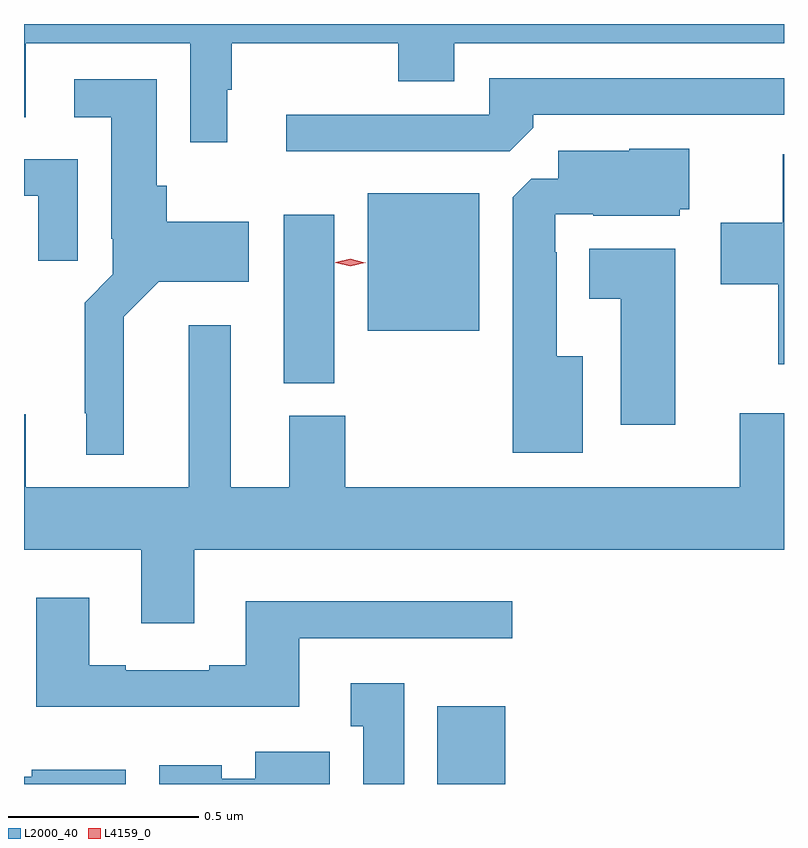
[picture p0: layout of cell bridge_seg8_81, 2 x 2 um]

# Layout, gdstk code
import gdstk
lib = gdstk.Library(unit=1e-6, precision=1e-09)
def R(c, l, rs):  # rectangles x0, y0, x1, y1
    for r in rs: c.add(gdstk.rectangle(r[:2], r[2:], *l))
def P(c, l, *ps):  # polygons
    for p in ps: c.add(gdstk.Polygon(p, *l))
L2000_40 = (2000, 40)
L4159_0 = (4159, 0)

bridge_seg8_81 = lib.new_cell('bridge_seg8_81')
R(bridge_seg8_81, L2000_40, [(699.233,1155.843,699.412,1156.048), (698.828,1156.897,698.962,1157.341), (699.05,1157.036,699.343,1157.398)])
P(bridge_seg8_81, L2000_40, [(698.68,1157.67),(698.692,1157.67),(698.692,1157.792),(699.13,1157.792),(699.13,1157.693),(699.277,1157.693),(699.277,1157.792),(700.145,1157.792),(700.145,1157.843),(698.145,1157.843),(698.145,1157.598),(698.149,1157.598),(698.149,1157.792),(698.583,1157.792),(698.583,1157.532),(698.68,1157.532)],
  [(699.485,1157.57),(699.485,1157.604),(700.145,1157.604),(700.145,1157.7),(699.369,1157.7),(699.369,1157.604),(698.835,1157.604),(698.835,1157.508),(699.423,1157.508)],
  [(698.407,1157.072),(698.499,1157.165),(698.737,1157.165),(698.737,1157.323),(698.52,1157.323),(698.52,1157.418),(698.494,1157.418),(698.494,1157.698),(698.277,1157.698),(698.277,1157.597),(698.375,1157.597),(698.375,1157.278),(698.379,1157.278),(698.379,1157.184),(698.305,1157.11),(698.305,1156.819),(698.309,1156.819),(698.309,1156.709),(698.407,1156.709)],
  [(699.616,1156.969),(699.547,1156.969),(699.547,1157.243),(699.543,1157.243),(699.543,1157.343),(699.643,1157.343),(699.643,1157.339),(699.87,1157.339),(699.87,1157.355),(699.895,1157.355),(699.895,1157.515),(699.738,1157.515),(699.738,1157.509),(699.551,1157.509),(699.551,1157.436),(699.48,1157.436),(699.431,1157.387),(699.431,1156.715),(699.616,1156.715)],
  [(700.145,1157.5),(700.142,1157.5),(700.142,1157.32),(699.978,1157.32),(699.978,1157.158),(700.13,1157.158),(700.13,1156.947),(700.145,1156.947)],
  [(698.287,1157.487),(698.145,1157.487),(698.145,1157.391),(698.183,1157.391),(698.183,1157.22),(698.287,1157.22)],
  [(699.859,1157.251),(699.632,1157.251),(699.632,1157.12),(699.716,1157.12),(699.716,1156.788),(699.859,1156.788)],
  [(698.593,1156.46),(700.145,1156.46),(700.145,1156.819),(700.028,1156.819),(700.028,1156.624),(698.991,1156.624),(698.991,1156.812),(698.843,1156.812),(698.843,1156.624),(698.689,1156.624),(698.689,1157.05),(698.579,1157.05),(698.579,1156.624),(698.149,1156.624),(698.149,1156.816),(698.145,1156.816),(698.145,1156.46),(698.453,1156.46),(698.453,1156.266),(698.593,1156.266)],
  [(698.869,1156.227),(699.43,1156.227),(699.43,1156.324),(698.729,1156.324),(698.729,1156.156),(698.633,1156.156),(698.633,1156.143),(698.413,1156.143),(698.413,1156.156),(698.317,1156.156),(698.317,1156.333),(698.177,1156.333),(698.177,1156.046),(698.869,1156.046)],
  [(699.145,1156.108),(699.005,1156.108),(699.005,1155.995),(699.038,1155.995),(699.038,1155.843),(699.145,1155.843)],
  [(698.95,1155.928),(698.753,1155.928),(698.753,1155.857),(698.665,1155.857),(698.665,1155.892),(698.501,1155.892),(698.501,1155.843),(698.95,1155.843)],
  [(698.413,1155.88),(698.166,1155.88),(698.166,1155.862),(698.145,1155.862),(698.145,1155.843),(698.413,1155.843)])
P(bridge_seg8_81, L4159_0, [(699.004,1157.205),(698.965,1157.215),(698.964,1157.215),(698.965,1157.216),(699.004,1157.225),(699.043,1157.215),(699.044,1157.215),(699.043,1157.215)])

lib.write_gds('bridge_seg8_81.gds')
